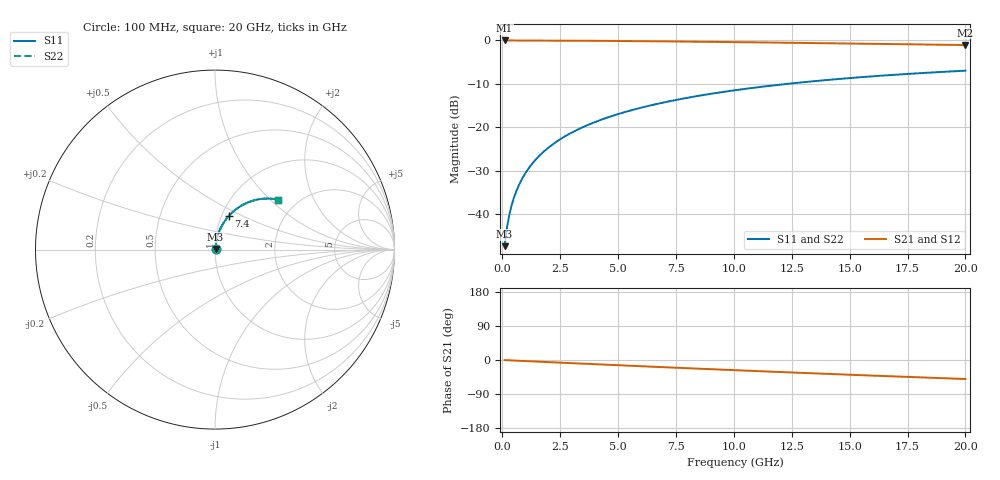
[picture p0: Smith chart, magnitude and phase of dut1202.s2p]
! Touchstone file exported from HFSS 2026.1.0
!  File:  C:/ffzhzh/LocalFiles/Ansys_Project_Files/temp_train_TMRDL_1202_1783162998_22436.aedt
!  Generated:  07:04:47 PM Jul  4, 2026
!  Design:  TMRDL
!  Project:  temp_train_TMRDL_1202_1783162998_22436
! Variables:
!  h_bsmrdl = 2um
!  h_ox = 20um
!  h_rdl = 5um
!  h_sub = 80um
!  h_tmrdl = 4.35um
!  h_tsv = 80um
!  h_via = 3um
!  l_bsmrdl = 300um
!  l_sub = 1148.99um
!  l_tmrdl = 748.99um
!  m_sub = 200um
!  pitch = 53.74um
!  r_tsv = 6um
!  s_tmrdl = 10um
!  w_bsmrdl = 18um
!  w_sub = 500um
!  w_tmrdl = 22.88um
!  x_tsv_center1 = 760.43um
!  x_tsv_center2 = 1078.43um
!  x_tsv_center3 = 1850.3um
!  x_tsv_center4 = 2168.3um
!  x_tsv_center5 = 2940.17um
!  x_tsv_center6 = 3258.17um
# GHz S MA R 50.000000
! Terminal data exported
! Port[1] = TM_RDL1_1_T1
! Port[2] = TM_RDL1_1_T2
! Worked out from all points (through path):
!   200 points, 100 MHz to 20 GHz, reference 50 ohm
!   highest |S21| = -0.02 dB at 100 MHz (marker M1); lowest = -1.1 dB at 20 GHz (marker M2)
!   group delay of S21, straight-line fit = 6.97 ps
!   lowest |S11| = -47.4 dB at 100 MHz (marker M3), VSWR 1.01, Z = 50.3 + j0.316 ohm
!   |S11| at or under -10 dB: start of sweep to 12.36 GHz
!   |S22| runs from -47.4 to -7.0 dB; largest |S21 - S12| = 7.1e-15
!   S11 on the Smith chart (normalised r, x): 100 MHz: 1.01, +0.01; 7.4 GHz: 1.08, +0.42; 20 GHz: 1.60, +1.11
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0.1  0.004253 47.7  0.9972 -0.3  0.9972 -0.3  0.004253 47.7
! Gamma 0 0 0 0
! Port Impedance 50 0 50 0
0.2  0.006897 63.5  0.997 -0.6  0.997 -0.6  0.006897 63.5
0.3  0.009678 70.0  0.9968 -0.9  0.9968 -0.9  0.009678 70.0
0.4  0.01248 73.6  0.9966 -1.1  0.9966 -1.1  0.01248 73.6
0.5  0.0153 75.8  0.9965 -1.4  0.9965 -1.4  0.0153 75.8
0.7  0.02099 78.4  0.9963 -2.0  0.9963 -2.0  0.02099 78.4
0.8  0.02385 79.2  0.9962 -2.3  0.9962 -2.3  0.02385 79.2
1  0.02958 80.1  0.9959 -2.8  0.9959 -2.8  0.02958 80.1
1.2  0.03533 80.6  0.9957 -3.4  0.9957 -3.4  0.03533 80.6
1.4  0.04108 80.7  0.9953 -3.9  0.9953 -3.9  0.04108 80.7
1.7  0.0497 80.6  0.9948 -4.8  0.9948 -4.8  0.0497 80.6
2  0.05828 80.3  0.9941 -5.6  0.9941 -5.6  0.05828 80.3
2.7  0.07817 79.1  0.9923 -7.5  0.9923 -7.5  0.07817 79.1
3.5  0.1005 77.3  0.9897 -9.7  0.9897 -9.7  0.1005 77.3
4.2  0.1198 75.6  0.987 -11.6  0.987 -11.6  0.1198 75.6
5  0.1413 73.6  0.9835 -13.8  0.9835 -13.8  0.1413 73.6
6.8  0.1881 69.1  0.9745 -18.6  0.9745 -18.6  0.1882 69.1
7.4  0.2032 67.6  0.9711 -20.1  0.9711 -20.1  0.2032 67.6
10.1  0.2674 61.0  0.9543 -27.0  0.9543 -27.0  0.2674 60.9
13.4  0.3373 53.1  0.9311 -35.1  0.9311 -35.1  0.3373 53.1
16.7  0.3972 45.7  0.9068 -42.8  0.9068 -42.8  0.3972 45.6
20  0.4473 38.5  0.8832 -50.1  0.8832 -50.1  0.4473 38.4
